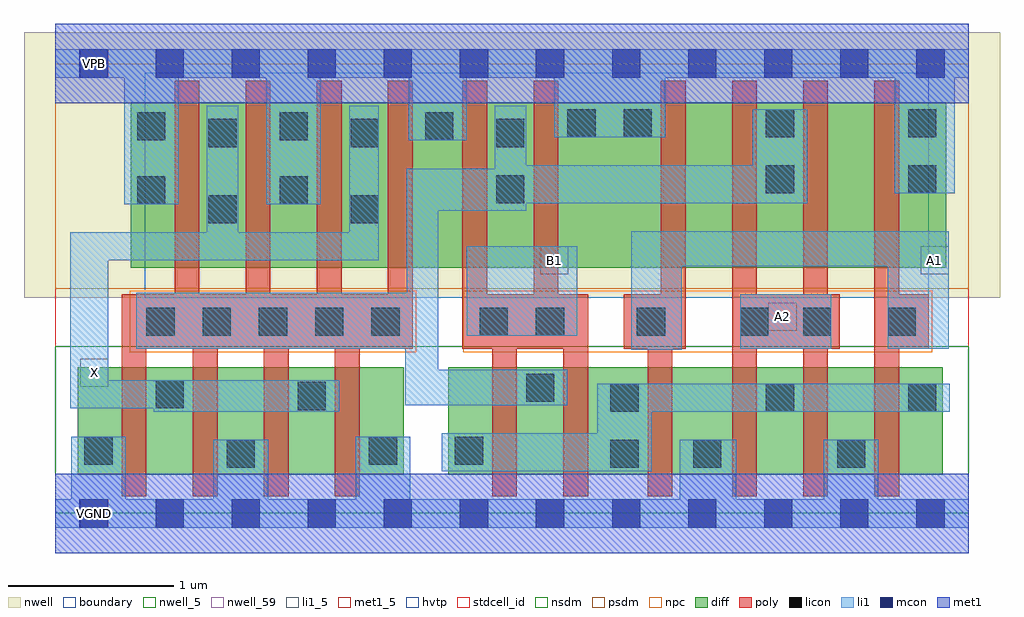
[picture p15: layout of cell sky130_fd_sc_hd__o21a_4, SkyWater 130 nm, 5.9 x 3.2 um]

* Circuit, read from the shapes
.subckt sky130_fd_sc_hd__o21a_4 A1 A2 B1 VGND VNB VPB VPWR X
XM1 X n1 VGND VNB sky130_fd_pr__nfet_01v8 w=0.65 l=0.15 m=4
XM2 n1 B1 n2 VNB sky130_fd_pr__nfet_01v8 w=0.65 l=0.15 m=2
XM3 VGND A1 n2 VNB sky130_fd_pr__nfet_01v8 w=0.65 l=0.15 m=2
XM4 n2 A2 VGND VNB sky130_fd_pr__nfet_01v8 w=0.65 l=0.15 m=2
XM5 X n1 VPWR VPB sky130_fd_pr__pfet_01v8_hvt w=1 l=0.15 m=4
XM6 n1 B1 VPWR VPB sky130_fd_pr__pfet_01v8_hvt w=1 l=0.15 m=2
XM7 n3 A1 VPWR VPB sky130_fd_pr__pfet_01v8_hvt w=1 l=0.15
XM8 n1 A2 n3 VPB sky130_fd_pr__pfet_01v8_hvt w=1 l=0.15
XM9 n4 A2 n1 VPB sky130_fd_pr__pfet_01v8_hvt w=1 l=0.15
XM10 VPWR A1 n4 VPB sky130_fd_pr__pfet_01v8_hvt w=1 l=0.15
.ends

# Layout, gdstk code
import gdstk
lib = gdstk.Library(unit=1e-6, precision=1e-09)
def R(c, l, rs):  # rectangles x0, y0, x1, y1
    for r in rs: c.add(gdstk.rectangle(r[:2], r[2:], *l))
def A(c, l, x, y, w, h, nx, ny, dx, dy):  # array of equal rectangles
    R(c, l, [(x+i*dx, y+j*dy, x+i*dx+w, y+j*dy+h) for i in range(nx) for j in range(ny)])
nwell_5 = (64, 5)
nwell = (64, 20)
nwell_59 = (64, 59)
diff = (65, 20)
poly = (66, 20)
licon = (66, 44)
li1_5 = (67, 5)
li1 = (67, 20)
mcon = (67, 44)
met1_5 = (68, 5)
met1 = (68, 20)
hvtp = (78, 44)
stdcell_id = (81, 4)
nsdm = (93, 44)
psdm = (94, 20)
npc = (95, 20)
boundary = (235, 4)

sky130_fd_sc_hd__o21a_4 = lib.new_cell('sky130_fd_sc_hd__o21a_4')
R(sky130_fd_sc_hd__o21a_4, nwell_5, [(0.15,2.635,0.32,2.805)])
R(sky130_fd_sc_hd__o21a_4, nwell, [(-0.19,1.305,5.71,2.91)])
R(sky130_fd_sc_hd__o21a_4, nwell_59, [(0.15,-0.085,0.32,0.085)])
R(sky130_fd_sc_hd__o21a_4, diff, [(0.135,0.235,2.105,0.885), (2.375,0.235,5.365,0.885), (0.455,1.485,5.385,2.485)])
A(sky130_fd_sc_hd__o21a_4, poly, 0.4, 0.105, 0.15, 0.89, 4, 1, 0.43, 0)
A(sky130_fd_sc_hd__o21a_4, poly, 3.07, 0.105, 0.15, 0.89, 3, 1, 0.51, 0)
A(sky130_fd_sc_hd__o21a_4, poly, 0.72, 1.325, 0.15, 1.29, 4, 1, 0.43, 0)
A(sky130_fd_sc_hd__o21a_4, poly, 3.66, 1.325, 0.15, 1.29, 4, 1, 0.43, 0)
R(sky130_fd_sc_hd__o21a_4, poly, [(2.64,0.105,2.79,0.995), (4.52,0.105,4.67,0.995), (4.95,0.105,5.1,0.995), (0.4,0.995,2.16,1.325), (2.46,0.995,3.22,1.325), (3.435,0.995,3.81,1.325), (4.09,0.995,4.74,1.325), (4.95,0.995,5.28,1.325), (2.46,1.325,2.61,2.615), (2.89,1.325,3.04,2.615)])
A(sky130_fd_sc_hd__o21a_4, licon, 0.55, 1.075, 0.17, 0.17, 5, 1, 0.34, 0)
A(sky130_fd_sc_hd__o21a_4, licon, 3.435, 2.275, 0.17, 0.17, 3, 1, 0.86, 0)
R(sky130_fd_sc_hd__o21a_4, licon, [(1.035,0.275,1.205,0.445), (3.355,0.275,3.525,0.445), (3.855,0.275,4.025,0.445), (4.725,0.275,4.895,0.445), (0.175,0.295,0.345,0.465), (1.895,0.295,2.065,0.465), (2.415,0.295,2.585,0.465), (3.355,0.615,3.525,0.785), (4.295,0.615,4.465,0.785), (5.155,0.615,5.325,0.785), (1.465,0.625,1.635,0.795), (0.605,0.635,0.775,0.805), (2.845,0.675,3.015,0.845), (2.565,1.075,2.735,1.245), (2.905,1.075,3.075,1.245), (3.515,1.075,3.685,1.245), (4.14,1.075,4.31,1.245), (4.52,1.075,4.69,1.245), (5.03,1.075,5.2,1.245), (0.925,1.755,1.095,1.925), (1.785,1.755,1.955,1.925), (0.495,1.87,0.665,2.04), (1.355,1.87,1.525,2.04), (2.665,1.875,2.835,2.045), (4.295,1.935,4.465,2.105), (5.155,1.935,5.325,2.105), (0.925,2.215,1.095,2.385), (1.785,2.215,1.955,2.385), (2.665,2.215,2.835,2.385), (0.495,2.255,0.665,2.425), (1.355,2.255,1.525,2.425), (2.235,2.255,2.405,2.425), (3.095,2.275,3.265,2.445)])
R(sky130_fd_sc_hd__o21a_4, li1_5, [(0.15,0.765,0.32,0.935), (4.31,1.105,4.48,1.275), (2.93,1.445,3.1,1.615), (5.23,1.445,5.4,1.615)])
R(sky130_fd_sc_hd__o21a_4, li1, [(0,-0.085,5.52,0.085), (0.095,0.085,0.425,0.465), (0.955,0.085,1.285,0.445), (1.815,0.085,2.145,0.465), (3.775,0.085,4.115,0.445), (4.645,0.085,4.975,0.445), (2.335,0.255,3.605,0.485), (3.275,0.485,3.605,0.615), (0.595,0.615,1.715,0.635), (3.275,0.615,5.405,0.785), (0.09,0.635,1.715,0.805), (2.115,0.655,3.095,0.87), (0.09,0.805,0.32,1.53), (2.115,0.87,2.315,0.995), (3.48,0.99,3.785,1.495), (0.49,0.995,2.315,1.335), (4.14,0.995,4.69,1.325), (5.03,0.995,5.4,1.495), (2.485,1.075,3.155,1.615), (2.125,1.335,2.315,1.83), (3.48,1.495,5.4,1.705), (0.09,1.53,1.955,1.7), (0.915,1.7,1.105,2.465), (1.775,1.7,1.955,2.465), (2.125,1.83,2.845,1.875), (0.415,1.87,0.745,2.635), (1.275,1.87,1.605,2.635), (2.125,1.875,4.545,2.085), (5.075,1.935,5.435,2.635), (2.655,2.085,4.545,2.105), (2.655,2.105,2.845,2.465), (4.215,2.105,4.545,2.445), (2.135,2.255,2.485,2.635), (3.015,2.275,3.685,2.635), (0,2.635,5.52,2.805)])
A(sky130_fd_sc_hd__o21a_4, mcon, 0.145, -0.085, 0.17, 0.17, 12, 2, 0.46, 2.72)
R(sky130_fd_sc_hd__o21a_4, met1_5, [(0.15,-0.085,0.32,0.085), (0.15,2.635,0.32,2.805)])
R(sky130_fd_sc_hd__o21a_4, met1, [(0,-0.24,5.52,0.24), (0,2.48,5.52,2.96)])
R(sky130_fd_sc_hd__o21a_4, hvtp, [(0.54,1.305,5.28,2.665)])
R(sky130_fd_sc_hd__o21a_4, stdcell_id, [(0,0,5.52,2.72)])
R(sky130_fd_sc_hd__o21a_4, nsdm, [(0,0,5.52,1.01)])
R(sky130_fd_sc_hd__o21a_4, psdm, [(0,1.36,5.52,2.72)])
R(sky130_fd_sc_hd__o21a_4, npc, [(0.45,0.975,2.18,1.345), (2.465,0.975,5.3,1.345)])
R(sky130_fd_sc_hd__o21a_4, boundary, [(0,0,5.52,2.72)])
sky130_fd_sc_hd__o21a_4.add(gdstk.Label('A1', (5.315,1.53), layer=67, texttype=5))
sky130_fd_sc_hd__o21a_4.add(gdstk.Label('A2', (4.395,1.19), layer=67, texttype=5))
sky130_fd_sc_hd__o21a_4.add(gdstk.Label('B1', (3.015,1.53), layer=67, texttype=5))
sky130_fd_sc_hd__o21a_4.add(gdstk.Label('VGND', (0.235,0), layer=68, texttype=5))
sky130_fd_sc_hd__o21a_4.add(gdstk.Label('VNB', (0.235,0), layer=64, texttype=59))
sky130_fd_sc_hd__o21a_4.add(gdstk.Label('VPB', (0.235,2.72), layer=64, texttype=5))
sky130_fd_sc_hd__o21a_4.add(gdstk.Label('VPWR', (0.235,2.72), layer=68, texttype=5))
sky130_fd_sc_hd__o21a_4.add(gdstk.Label('X', (0.235,0.85), layer=67, texttype=5))

lib.write_gds('sky130_fd_sc_hd__o21a_4.gds')
